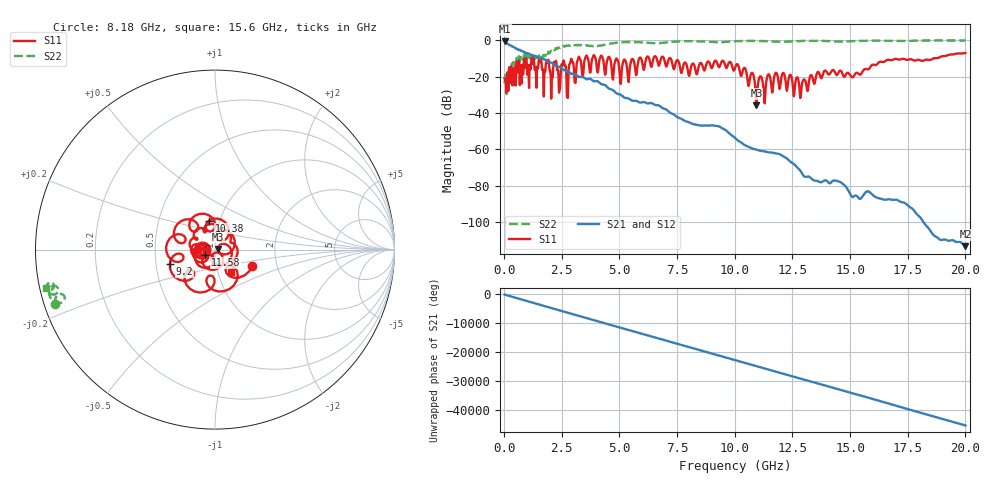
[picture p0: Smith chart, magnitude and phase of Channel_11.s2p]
! Created Sun Jun 24 21:07:34 2012
# hz S ma R 100
! 2 Port Network Data from SP1.SP block
! freq  magS11  angS11  magS21  angS21  magS12  angS12  magS22  angS22
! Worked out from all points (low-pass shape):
!   1000 points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, 20 MHz to 20 GHz, reference 100 ohm
!   highest |S21| = -0.70 dB at 20 MHz (marker M1); lowest = -113.4 dB at 20 GHz (marker M2)
!   |S21| within 3 dB of the highest: start of sweep to 388.1 MHz
!   lowest |S11| = -35.8 dB at 10.94 GHz (marker M3), VSWR 1.03, Z = 103 + j0.868 ohm
!   |S11| at or under -10 dB: 1.203 GHz to 3.212 GHz (2.009 GHz wide, 91 % of centre); 4.584 GHz to 5.856 GHz (1.271 GHz wide, 24.4 % of centre); 7.213 GHz to 18.63 GHz (11.41 GHz wide, 88.3 % of centre)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
!   |S22| runs from -29.7 to -0.1 dB; largest |S21 - S12| = 0.00019
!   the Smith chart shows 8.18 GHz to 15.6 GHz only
!   S11 on the Smith chart (normalised r, x): 8.18 GHz: 1.49, -0.28; 9.2 GHz: 0.59, -0.10; 10.38 GHz: 0.89, +0.30; 11.58 GHz: 0.90, -0.05; 15.6 GHz: 1.16, -0.30
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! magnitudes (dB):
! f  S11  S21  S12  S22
! 20 MHz  -21.1  -0.7  -0.7  -23.7
! 720 MHz  -13.8  -5.8  -5.8  -9.2
! 1.54 GHz  -11.1  -9.7  -9.7  -10.0
! 2.06 GHz  -23.1  -12.5  -12.5  -5.9
! 2.24 GHz  -11.3  -14.1  -14.1  -4.5
! 2.38 GHz  -28.8  -14.7  -14.7  -4.0
! 2.58 GHz  -11.1  -16.5  -16.6  -3.1
! 2.72 GHz  -31.0  -16.9  -16.9  -3.1
! 2.9 GHz  -10.3  -18.6  -18.6  -2.6
! 3.36 GHz  -15.7  -20.2  -20.2  -2.7
! 6.68 GHz  -13.4  -35.8  -35.8  -1.6
! 8.18 GHz  -12.9  -46.1  -46.1  -0.5
! 9.2 GHz  -11.5  -47.2  -47.3  -1.1
! 10.02 GHz  -14.9  -53.9  -53.9  -0.6
! 10.38 GHz  -15.7  -57.3  -57.3  -0.4
! 10.94 GHz  -35.8  -60.2  -60.2  -0.4
! 11.1 GHz  -19.9  -60.9  -60.9  -0.4
! 11.58 GHz  -24.3  -61.8  -61.8  -0.7
! 13.34 GHz  -19.5  -76.4  -76.4  -0.3
! 15.6 GHz  -16.2  -84.9  -84.9  -0.3
! 16.68 GHz  -10.8  -87.6  -87.6  -0.4
! 20 GHz  -7.1  -113.4  -113.5  -0.2
